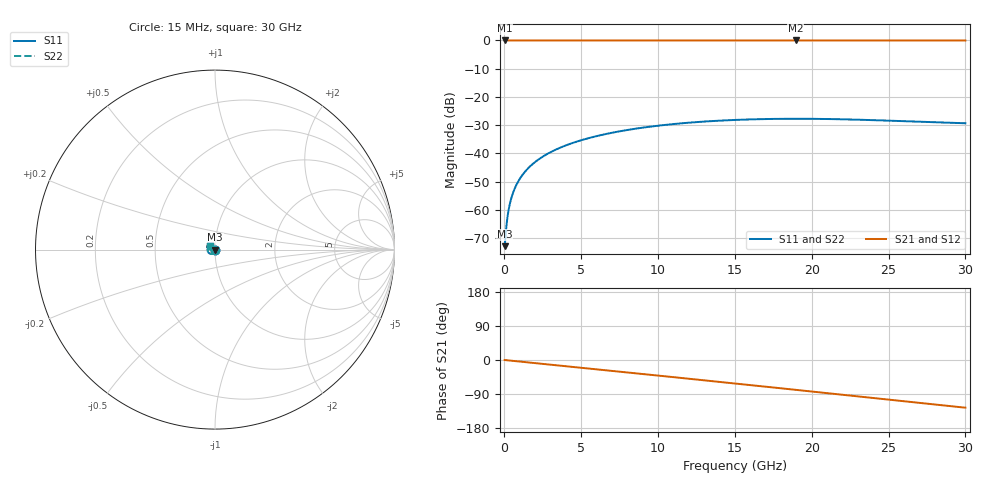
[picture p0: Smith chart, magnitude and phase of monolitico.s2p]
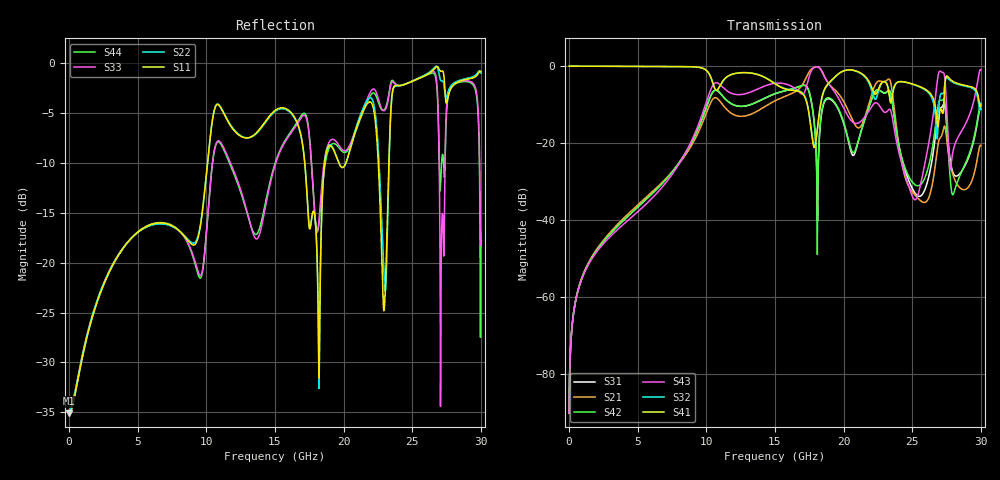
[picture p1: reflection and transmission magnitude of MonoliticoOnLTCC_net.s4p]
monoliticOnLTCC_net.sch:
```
<Qucs Schematic 25.1.0>
<Properties>
  <View=-482,-970,6031,2468,0.480191,870,0>
  <Grid=10,10,1>
  <DataSet=monoliticOnLTCC_net.dat>
  <DataDisplay=monoliticOnLTCC_net.dpl>
  <OpenDisplay=0>
  <Script=monoliticOnLTCC.m>
  <RunScript=0>
  <showFrame=0>
  <FrameText0=Title>
  <FrameText1=Drawn By:>
  <FrameText2=Date:>
  <FrameText3=Revision:>
</Properties>
<Symbol>
</Symbol>
<Components>
  <Pac P1 1 150 -50 18 -26 0 1 "1" 1 "50 Ohm" 1 "0 dBm" 0 "1 MHz" 0 "26.85" 0 "true" 0>
  <GND * 1 150 -20 0 0 0 0>
  <Pac P2 1 630 -60 18 -26 0 1 "2" 1 "50 Ohm" 1 "0 dBm" 0 "1 MHz" 0 "26.85" 0 "true" 0>
  <GND * 1 630 -30 0 0 0 0>
  <GND * 1 340 30 0 0 0 0>
  <SPfile X2 1 340 -330 -26 -65 0 0 "monolitico.s2p" 1 "rectangular" 0 "linear" 0 "open" 0 "2" 0>
  <GND * 1 340 -300 0 0 0 0>
  <SPfile X3 1 340 -150 -26 -95 0 0 "MonoliticoOnLTCC_net.s4p" 1 "rectangular" 0 "linear" 0 "open" 0 "4" 0>
  <Eqn Eqn1 1 480 250 -32 18 0 0 "dBS11=dB(S[1,1])" 1 "dBS12=dB(S[1,2])" 1 "phS12=phase(S[1,2])" 1 "phS11=phase(S[1,1])" 1 "yes" 0>
  <.SP SP1 1 180 180 0 70 0 0 "lin" 1 "1 MHz" 1 "30 GHz" 1 "10000" 1 "no" 0 "1" 0 "2" 0 "no" 0 "no" 0>
</Components>
<Wires>
  <150 -80 210 -80 "" 0 0 0 "">
  <210 -90 210 -80 "" 0 0 0 "">
  <340 -90 340 30 "" 0 0 0 "">
  <370 -120 370 -90 "" 0 0 0 "">
  <370 -90 630 -90 "" 0 0 0 "">
  <310 -120 310 -90 "" 0 0 0 "">
  <210 -90 310 -90 "" 0 0 0 "">
  <370 -180 450 -180 "" 0 0 0 "">
  <370 -330 450 -330 "" 0 0 0 "">
  <450 -330 450 -180 "" 0 0 0 "">
  <200 -180 310 -180 "" 0 0 0 "">
  <200 -330 310 -330 "" 0 0 0 "">
  <200 -330 200 -180 "" 0 0 0 "">
</Wires>
<Diagrams>
  <Rect 4050 2465 1977 1065 3 #c0c0c0 1 00 1 0 1e+09 3e+10 1 -220 20 220 1 -1 0.2 1 315 0 225 1 0 0 "" "" "">
	<"phS11" #00ff00 2 3 0 0 0>
	<"monoliticOnLTCC:phS11" #ff00ff 1 3 0 0 0>
  </Rect>
  <Smith -480 2275 1675 1675 3 #c0c0c0 1 00 1 0 1 1 1 0 4 1 1 0 1 1 315 0 225 1 0 0 "" "" "">
	<"S[1,1]" #0000ff 0 3 0 0 0>
	<"monoliticOnLTCC:S[1,1]" #ff0000 0 3 0 0 0>
  </Smith>
  <Rect 1510 1898 2086 958 3 #c0c0c0 1 00 1 0 1e+09 3e+10 1 -215.916 50 215.973 1 -1 0.2 1 315 0 225 1 0 0 "" "" "">
	<"monoliticOnLTCC:phS12" #ff0000 0 3 0 0 0>
	<"phS12" #00ff00 0 3 0 0 0>
  </Rect>
  <Rect 1620 392 2367 1272 3 #c0c0c0 1 00 1 0 1e+09 3e+10 0 -80 5 20 1 -1 0.1 1 315 0 225 1 0 0 "" "" "">
	<"dBS11" #0000ff 0 3 0 0 0>
	<"monoliticOnLTCC:dBS11" #ff0000 0 3 0 0 0>
  </Rect>
</Diagrams>
<Paintings>
</Paintings>
```
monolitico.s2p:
! S parameter file generated by ana
#  GHz  S  DB  R  50
! frequency  S11_dB  S11_deg  S21_dB  S21_deg  S12_dB  S12_deg  S22_dB  S22_deg
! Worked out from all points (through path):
!   2000 points, 15 MHz to 30 GHz, reference 50 ohm
!   highest |S21| = 0.00 dB at 30 MHz (marker M1); lowest = 0.0 dB at 18.96 GHz (marker M2)
!   group delay of S21, straight-line fit = 11.7 ps
!   lowest |S11| = -72.9 dB at 15 MHz (marker M3), VSWR 1.00, Z = 50 - j0.00532 ohm
!   |S11| at or under -10 dB: start of sweep to end of sweep
!   |S22| runs from -72.9 to -27.7 dB; largest |S21 - S12| = 0
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0.015  -72.87 -13.5  -0.00 -0.1  -0.00 -0.1  -72.87 -166.6
0.03  -72.22 -25.7  -0.00 -0.1  -0.00 -0.1  -72.22 -154.5
0.375  -57.44 -82.1  -0.00 -1.5  -0.00 -1.5  -57.44 -101.0
0.855  -50.39 -89.3  -0.00 -3.5  -0.00 -3.5  -50.39 -97.7
1.725  -44.33 -94.9  -0.00 -7.0  -0.00 -7.0  -44.33 -99.1
3.03  -39.51 -101.2  -0.00 -12.4  -0.00 -12.4  -39.51 -103.6
7.71  -31.98 -121.0  -0.00 -31.6  -0.00 -31.6  -31.98 -122.2
15.015  -28.15 -151.6  -0.01 -62.0  -0.01 -62.0  -28.15 -152.4
18.96  -27.74 -168.4  -0.01 -78.7  -0.01 -78.7  -27.74 -169.1
24.36  -28.29 168.4  -0.01 -101.8  -0.01 -101.8  -28.29 168.0
30  -29.33 144.0  -0.01 -125.9  -0.01 -125.9  -29.33 144.3
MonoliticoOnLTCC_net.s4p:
! S parameter file generated by ana
#  GHz  S  DB  R  50
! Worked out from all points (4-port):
!   2000 points, 15 MHz to 30 GHz, reference 50 ohm
!   strongest paths, dB at 15 MHz, 7.515 GHz, 15.02 GHz, 22.52 GHz, 30 GHz:
!     S41: 0.0, -0.1, -4.6, -6.2, -10.0
!     S32: 0.0, -0.1, -4.5, -6.8, -9.6
!     S43: -90.2, -28.1, -4.4, -9.8, -1.0
!     S42: -90.1, -27.5, -7.1, -6.2, -10.4
!     S21: -90.0, -27.5, -9.0, -3.9, -20.7
!     S31: -90.1, -27.5, -7.2, -6.1, -11.1
!   lowest |S11| = -35.1 dB at 15 MHz (marker M1), VSWR 1.04, Z = 48.3 - j0.0286 ohm
!   |S11| at or under -10 dB: start of sweep to 10.1 GHz; 17.17 GHz to 18.63 GHz (1.453 GHz wide, 8.11 % of centre); 22.53 GHz to 23.3 GHz (773.2 MHz wide, 3.37 % of centre)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
0.015  -35.09 -179.0  -89.98 61.0  -90.11 -119.1  -0.00 -0.4
       -89.98 61.0  -34.79 -179.1  -0.00 -0.4  -90.10 -119.0
       -90.11 -119.1  -0.00 -0.4  -34.78 -1.8  -90.21 61.0
       -0.00 -0.4  -90.10 -119.0  -90.21 61.0  -35.07 -1.8
10.575  -4.81 119.0  -8.26 137.8  -6.37 -98.4  -5.37 46.0
        -8.26 137.8  -4.79 119.3  -5.40 46.3  -6.38 -98.5
        -6.37 -98.4  -5.40 46.3  -8.87 16.3  -4.54 24.5
        -5.37 46.0  -6.38 -98.5  -4.54 24.5  -8.92 15.7
30  -0.89 -13.7  -20.67 -45.7  -11.14 108.9  -10.00 -45.8
    -20.67 -45.7  -1.02 -15.1  -9.57 -30.5  -10.44 93.1
    -11.14 108.9  -9.57 -30.5  -17.02 -143.3  -1.01 -111.3
    -10.00 -45.8  -10.44 93.1  -1.01 -111.3  -17.73 172.9
